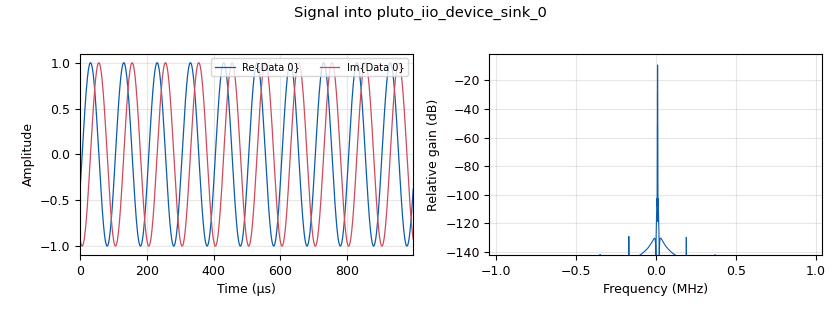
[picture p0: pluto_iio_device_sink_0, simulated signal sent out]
options:
  parameters:
    generate_options: qt_gui
    id: PlutoTestSine_38
    output_language: python
    title: Not titled yet
  states: {}

blocks:
- name: lo_freq
  id: variable_qtgui_range
  parameters:
    label: LO Frequency (Hz)
    rangeType: int
    start: '500000000'
    step: '100000000'
    stop: '5000000000'
    value: '2400000000'
  states: {}
- name: rx_gain
  id: variable_qtgui_range
  parameters:
    label: Rx Gain (dB)
    rangeType: int
    start: '0'
    step: '1'
    stop: '71'
    value: '0'
  states: {}
- name: samp_rate
  id: variable
  parameters:
    value: 2.084e6
  states: {}
- name: tone_freq
  id: variable_qtgui_range
  parameters:
    label: Tone Frequency (Hz)
    start: '1'
    step: '1000'
    stop: '100000'
    value: '10000'
  states: {}
- name: uri
  id: variable
  parameters:
    value: '"ip:192.168.2.1"'
  states: {}
- name: analog_sig_source_x_0
  id: analog_sig_source_x
  parameters:
    amp: '1'
    freq: tone_freq
    offset: '0'
    phase: '0'
    samp_rate: samp_rate
    type: complex
    waveform: analog.GR_COS_WAVE
  states: {}
- name: pluto_iio_device_sink_0
  id: pluto_iio_device_sink
  parameters:
    buffer_size: '32768'
    lo_freq: '2400000000'
    rf_bandwidth: '20000000'
    sample_rate: 2.084e6
    tx_atten: '10'
    uri: uri
  states: {}
- name: pluto_iio_device_source_0
  id: pluto_iio_device_source
  parameters:
    bb_dc_correction: '1'
    buffer_size: '32768'
    gain_control_mode: manual
    lo_freq: lo_freq
    manual_gain: rx_gain
    rf_bandwidth: '20000000'
    rf_dc_correction: '1'
    sample_rate: samp_rate
    uri: uri
  states: {}
- name: qtgui_sink_x_1
  id: qtgui_sink_x
  parameters:
    bw: samp_rate
    fc: '0'
    fftsize: '1024'
    type: complex
  states: {}

connections:
- [analog_sig_source_x_0, '0', pluto_iio_device_sink_0, '0']
- [pluto_iio_device_source_0, '0', qtgui_sink_x_1, '0']

metadata:
  file_format: 1
  grc_version: 3.10.9.2
